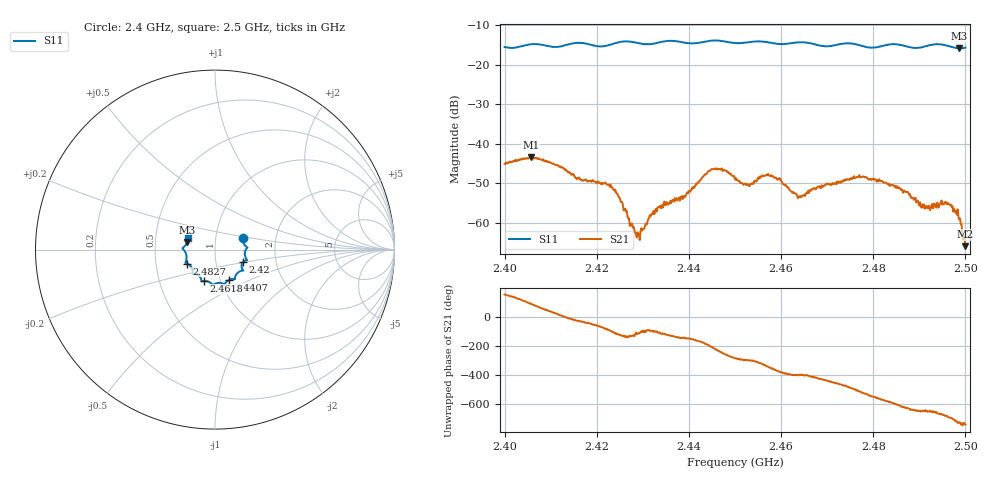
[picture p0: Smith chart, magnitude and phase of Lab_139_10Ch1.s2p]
# Hz S RI R 50
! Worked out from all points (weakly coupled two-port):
!   601 points, 2.4 GHz to 2.5 GHz, reference 50 ohm
!   highest |S21| = -43.40 dB at 2.4057 GHz (marker M1); lowest = -66.0 dB at 2.5 GHz (marker M2)
!   lowest |S11| = -15.9 dB at 2.4987 GHz (marker M3), VSWR 1.38, Z = 36.5 + j3.22 ohm
!   |S11| at or under -10 dB: start of sweep to end of sweep
!   S12 and S22 are empty: the file has one direction only
!   S11 on the Smith chart (normalised r, x): 2.4 GHz: 1.35, +0.17; 2.42 GHz: 1.36, -0.19; 2.4407 GHz: 1.10, -0.38; 2.4618 GHz: 0.83, -0.30; 2.4827 GHz: 0.72, -0.12; 2.5 GHz: 0.73, +0.09
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2.4e9  0.1548 0.0619  -0.00484 0.00273  0 0  0 0
2.405667e9  0.1804 0.0131  7.01e-05 0.00676  0 0  0 0
2.416667e9  0.1787 -0.0587  0.00287 -0.00189  0 0  0 0
2.42e9  0.1567 -0.0691  0.00146 -0.00278  0 0  0 0
2.424e9  0.152 -0.1082  -0.000987 -0.00243  0 0  0 0
2.428833e9  0.1458 -0.1185  -0.000325 -0.000681  0 0  0 0
2.433333e9  0.1118 -0.1531  -0.000589 -0.00145  0 0  0 0
2.440667e9  0.0792 -0.1674  -0.00254 -0.00112  0 0  0 0
2.445333e9  0.0535 -0.1944  -0.00389 0.00274  0 0  0 0
2.45e9  0.027 -0.1851  0.000903 0.00338  0 0  0 0
2.453e9  -0.00174 -0.1919  0.00143 0.00256  0 0  0 0
2.457667e9  -0.0214 -0.188  0.00385 0.000532  0 0  0 0
2.461833e9  -0.0613 -0.1749  0.00215 -0.00145  0 0  0 0
2.464e9  -0.0737 -0.177  0.0017 -0.00133  0 0  0 0
2.466667e9  -0.076 -0.1681  0.00163 -0.0021  0 0  0 0
2.476667e9  -0.1246 -0.1272  -0.00311 -0.00208  0 0  0 0
2.482667e9  -0.1582 -0.0777  -0.00258 0.00192  0 0  0 0
2.483333e9  -0.162 -0.0767  -0.0022 0.00222  0 0  0 0
2.490833e9  -0.1671 -0.0114  0.00038 0.00152  0 0  0 0
2.496e9  -0.1728 0.0145  0.0014 0.00113  0 0  0 0
2.498667e9  -0.1544 0.043  0.0011 -6.22e-05  0 0  0 0
2.5e9  -0.1512 0.063  0.000473 -0.000171  0 0  0 0
